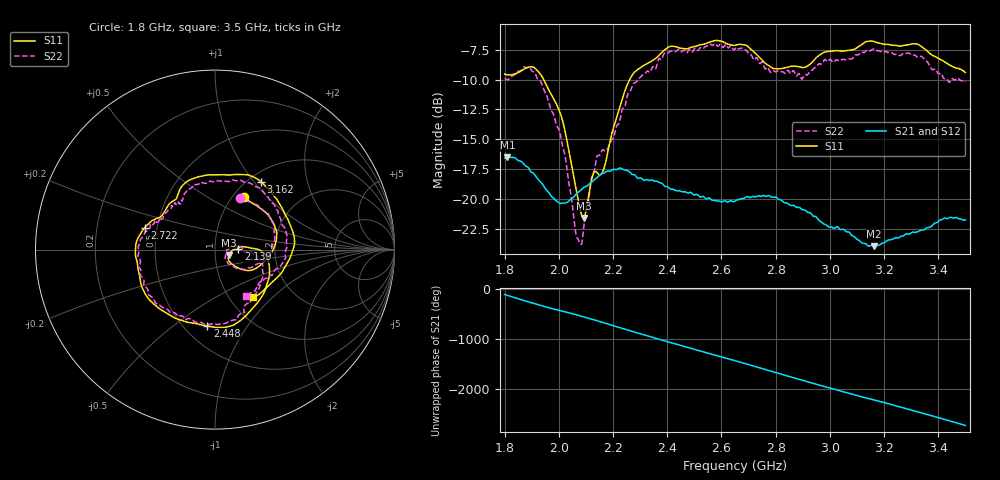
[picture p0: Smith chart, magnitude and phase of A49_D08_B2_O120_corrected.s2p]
! Created with skrf 1.9.0 (http://scikit-rf.org).
# Hz S RI R 50.0
!freq ReS11 ImS11 ReS21 ImS21 ReS12 ImS12 ReS22 ImS22
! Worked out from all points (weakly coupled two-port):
!   1601 points, 1.8 GHz to 3.5 GHz, reference 50 ohm
!   highest |S21| = -16.49 dB at 1.811 GHz (marker M1); lowest = -23.9 dB at 3.163 GHz (marker M2)
!   lowest |S11| = -21.6 dB at 2.091 GHz (marker M3), VSWR 1.18, Z = 58.3 - j3.59 ohm
!   |S11| at or under -10 dB: 1.944 GHz to 2.262 GHz (317.2 MHz wide, 15.1 % of centre)
!   |S22| runs from -23.8 to -7.0 dB; largest |S21 - S12| = 0.0028
!   S11 on the Smith chart (normalised r, x): 1.8 GHz: 1.12, +0.74; 2.139 GHz: 1.30, +0.01; 2.448 GHz: 0.64, -0.67; 2.722 GHz: 0.43, +0.12; 3.162 GHz: 1.14, +1.09; 3.5 GHz: 1.28, -0.76
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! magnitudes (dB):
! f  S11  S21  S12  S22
! 1.8 GHz  -9.5  -16.6  -16.6  -9.9
! 1.811 GHz  -9.6  -16.5  -16.5  -10.0
! 1.886 GHz  -9.0  -17.3  -17.4  -9.0
! 1.939 GHz  -9.8  -18.7  -18.8  -10.5
! 2.011 GHz  -13.2  -20.4  -20.4  -15.3
! 2.063 GHz  -19.1  -19.6  -19.6  -23.0
! 2.084 GHz  -21.3  -19.2  -19.2  -23.7
! 2.091 GHz  -21.6  -19.0  -19.1  -22.5
! 2.139 GHz  -17.7  -18.2  -18.2  -16.6
! 2.166 GHz  -17.5  -17.8  -17.8  -15.9
! 2.263 GHz  -9.9  -17.8  -17.8  -11.0
! 2.367 GHz  -8.0  -18.6  -18.5  -8.3
! 2.448 GHz  -7.4  -19.3  -19.3  -7.6
! 2.65 GHz  -7.1  -20.2  -20.2  -7.4
! 2.722 GHz  -7.7  -19.8  -19.7  -8.3
! 2.796 GHz  -9.1  -19.8  -19.8  -9.3
! 2.934 GHz  -8.6  -21.3  -21.3  -9.2
! 3.162 GHz  -6.8  -23.9  -23.9  -7.4
! 3.163 GHz  -6.8  -23.9  -23.9  -7.4
! 3.217 GHz  -7.1  -23.4  -23.4  -7.8
! 3.324 GHz  -7.0  -22.7  -22.7  -8.1
! 3.5 GHz  -9.4  -21.7  -21.7  -10.2
